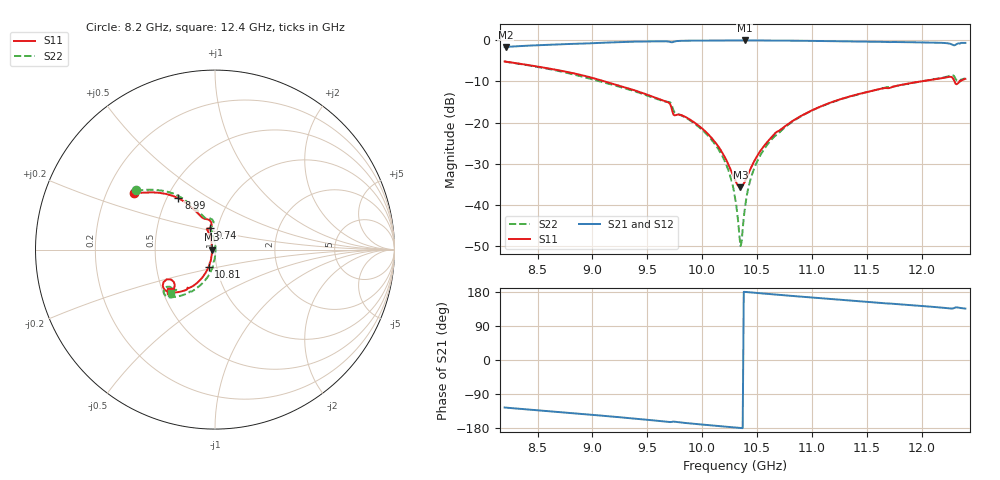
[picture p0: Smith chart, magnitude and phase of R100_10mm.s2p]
#  HZ  S  MA  R  50.00
! Rohde & Schwarz ZVA67 4Ports - Version 4.11 - 1305.7002k04 SN: 101051
! Date: 2023-04-26 10:45:08
! Measurements: S11 S21 S12 S22
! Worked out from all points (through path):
!   421 points, 8.2 GHz to 12.4 GHz, reference 50 ohm
!   highest |S21| = -0.10 dB at 10.39 GHz (marker M1); lowest = -1.7 dB at 8.21 GHz (marker M2)
!   lowest |S11| = -35.7 dB at 10.35 GHz (marker M3), VSWR 1.03, Z = 48.4 - j0.0359 ohm
!   |S11| at or under -10 dB: 9.11 GHz to 12 GHz (2.889 GHz wide, 27.4 % of centre); 12.29985 GHz to 12.34616 GHz (46.3 MHz wide, 0.376 % of centre)
!   |S22| runs from -49.9 to -5.2 dB; largest |S21 - S12| = 0.0036
!   S11 on the Smith chart (normalised r, x): 8.2 GHz: 0.32, +0.29; 8.99 GHz: 0.57, +0.37; 9.74 GHz: 0.92, +0.23; 10.81 GHz: 0.92, -0.18; 12.4 GHz: 0.55, -0.28
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8.2e9  0.551 145.0  0.8256 -125.3  0.8263 -125.5  0.5489 142.9
8.21e9  0.5476 145.2  0.8249 -125.7  0.8255 -125.8  0.5456 143.0
8.9e9  0.3763 127.8  0.9056 -142.6  0.9074 -142.5  0.3628 124.3
8.99e9  0.3511 125.4  0.9145 -144.7  0.9165 -144.6  0.3369 122.3
9.6e9  0.1945 112.1  0.968 -160.6  0.9696 -160.6  0.1907 108.5
9.69e9  0.1763 105.6  0.961 -163.4  0.9626 -163.4  0.1781 103.4
9.74e9  0.1246 102.5  0.9522 -162.6  0.9538 -162.7  0.14 93.7
9.94e9  0.09801 110.7  0.9848 -168.7  0.9863 -168.8  0.09527 99.7
1.013e10  0.05538 113.0  0.9873 -173.8  0.9895 -173.8  0.05187 93.7
1.023e10  0.03316 122.9  0.988 -176.3  0.9901 -176.4  0.02863 88.0
1.03e10  0.0202 145.7  0.9884 -178.1  0.9904 -178.1  0.01247 77.8
1.035e10  0.01643 -178.7  0.9886 -179.3  0.9904 -179.4  0.003187 9.9
1.037e10  0.01727 -163.1  0.9886 -179.8  0.9903 -179.9  0.005112 -53.1
1.039e10  0.01929 -150.2  0.9889 179.7  0.9905 179.6  0.009165 -71.7
1.044e10  0.02734 -130.0  0.9888 178.4  0.9906 178.3  0.02022 -83.4
1.052e10  0.04311 -117.2  0.9887 176.4  0.9904 176.3  0.03784 -89.5
1.081e10  0.1015 -110.1  0.9826 169.4  0.9846 169.3  0.0998 -97.8
1.1e10  0.1404 -112.0  0.9775 164.8  0.9791 164.7  0.1398 -102.7
1.17e10  0.2615 -125.6  0.9441 149.1  0.9458 149.0  0.2693 -120.3
1.227e10  0.3579 -143.6  0.8933 135.8  0.8938 135.6  0.3752 -135.7
1.232e10  0.2916 -141.7  0.8925 139.0  0.8928 138.8  0.3264 -140.7
1.24e10  0.3387 -137.5  0.9239 135.7  0.9245 135.5  0.3435 -135.3
